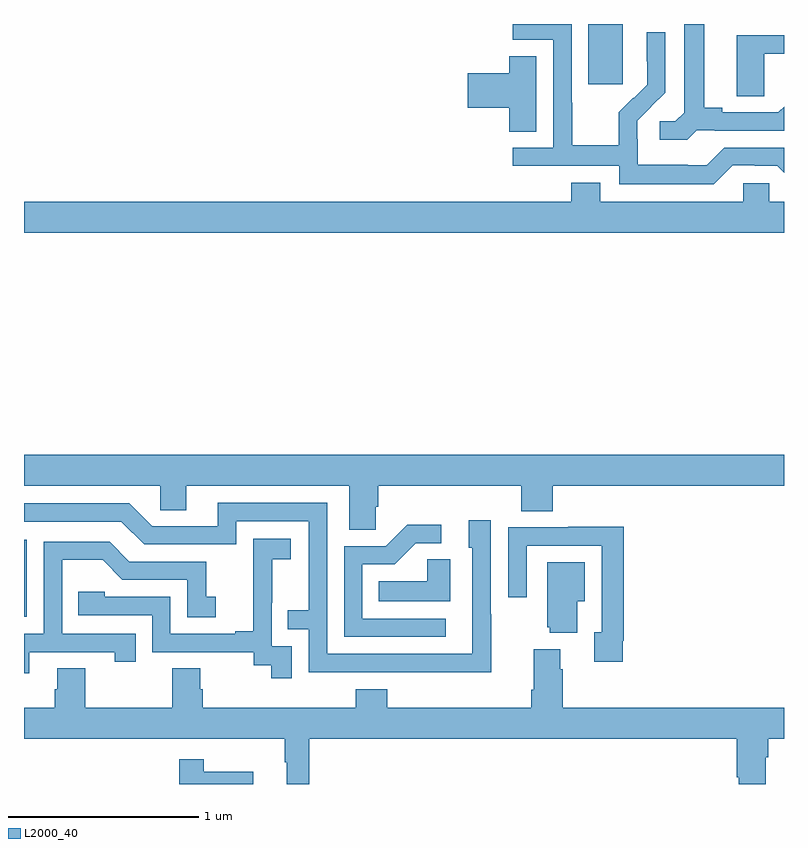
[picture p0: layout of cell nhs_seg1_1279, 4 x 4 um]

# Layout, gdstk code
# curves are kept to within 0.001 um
import gdstk
lib = gdstk.Library(unit=1e-6, precision=1e-09)
def R(c, l, rs):  # rectangles x0, y0, x1, y1
    for r in rs: c.add(gdstk.rectangle(r[:2], r[2:], *l))
def P(c, l, *ps):  # polygons
    for p in ps: c.add(gdstk.Polygon(p, *l))
L2000_40 = (2000, 40)

nhs_seg1_1279 = lib.new_cell('nhs_seg1_1279')
R(nhs_seg1_1279, L2000_40, [(181,515.079,181.014,515.485), (183.971,517.881,184.15,518.199)])
P(nhs_seg1_1279, L2000_40, [(184.542,517.641),(184.636,517.641),(184.636,517.638),(185,517.638),(185,517.764),(184.97,517.734),(184.675,517.734),(184.675,517.757),(184.579,517.757),(184.579,518.199),(184.475,518.199),(184.475,517.733),(184.428,517.686),(184.347,517.686),(184.347,517.589),(184.49,517.589)],
  [(184.731,517.455),(184.847,517.455),(184.847,517.452),(184.965,517.452),(185,517.417),(185,517.548),(184.686,517.548),(184.593,517.455),(184.493,517.455),(184.493,517.459),(184.23,517.459),(184.23,517.593),(184.228,517.593),(184.228,517.69),(184.374,517.838),(184.374,518.156),(184.278,518.156),(184.278,518.002),(184.28,518.002),(184.28,517.88),(184.209,517.809),(184.206,517.812),(184.129,517.735),(184.129,517.561),(183.885,517.561),(183.885,517.784),(183.882,517.784),(183.882,518.199),(183.573,518.199),(183.573,518.115),(183.786,518.115),(183.786,517.548),(183.573,517.548),(183.573,517.452),(184.134,517.452),(184.134,517.355),(184.631,517.355)],
  [(184.896,518.043),(185,518.043),(185,518.139),(184.751,518.139),(184.751,517.819),(184.896,517.819)],
  [(183.697,518.03),(183.554,518.03),(183.554,517.94),(183.336,517.94),(183.336,517.757),(183.554,517.757),(183.554,517.633),(183.697,517.633)],
  [(185,517.264),(184.923,517.264),(184.923,517.362),(184.785,517.362),(184.785,517.264),(184.033,517.264),(184.033,517.363),(183.881,517.363),(183.881,517.264),(181,517.264),(181,517.1),(185,517.1)],
  [(182.85,515.659),(182.864,515.659),(182.864,515.768),(183.617,515.768),(183.617,515.635),(183.782,515.635),(183.782,515.768),(185,515.768),(185,515.932),(181,515.932),(181,515.768),(181.716,515.768),(181.716,515.641),(181.855,515.641),(181.855,515.768),(182.711,515.768),(182.711,515.536),(182.85,515.536)],
  [(183.459,515.093),(183.456,515.093),(183.456,515.587),(183.341,515.587),(183.341,515.442),(183.36,515.442),(183.36,514.884),(182.595,514.884),(182.595,515.679),(182.021,515.679),(182.021,515.556),(181.674,515.556),(181.554,515.676),(181,515.676),(181,515.58),(181.512,515.58),(181.632,515.46),(182.118,515.46),(182.118,515.583),(182.499,515.583),(182.499,515.114),(182.389,515.114),(182.389,515.013),(182.499,515.013),(182.499,514.788),(183.459,514.787)],
  [(183.22,515.07),(182.781,515.07),(182.781,515.355),(182.95,515.355),(183.061,515.466),(183.196,515.466),(183.196,515.564),(183.017,515.564),(182.904,515.451),(182.685,515.451),(182.685,514.974),(183.22,514.974)],
  [(184.15,514.954),(184.157,514.954),(184.157,515.552),(183.865,515.552),(183.865,515.55),(183.549,515.55),(183.549,515.181),(183.645,515.181),(183.645,515.454),(184.041,515.454),(184.041,514.998),(184.001,514.998),(184.001,514.842),(184.15,514.842)],
  [(182.409,514.923),(182.304,514.923),(182.304,515.153),(182.306,515.153),(182.306,515.381),(182.404,515.381),(182.404,515.491),(182.206,515.491),(182.206,515.285),(182.207,515.285),(182.207,515.002),(182.111,515.002),(182.111,514.989),(181.77,514.989),(181.77,515.184),(181.425,515.184),(181.425,515.211),(181.285,515.211),(181.285,515.088),(181.674,515.088),(181.674,514.893),(182.208,514.893),(182.208,514.825),(182.301,514.825),(182.301,514.755),(182.409,514.755)],
  [(181.027,514.893),(181.478,514.893),(181.478,514.842),(181.589,514.842),(181.589,514.989),(181.2,514.989),(181.2,515.378),(181.414,515.378),(181.518,515.274),(181.86,515.274),(181.86,515.076),(182.008,515.076),(182.008,515.185),(181.959,515.185),(181.959,515.37),(181.555,515.37),(181.45,515.475),(181.104,515.475),(181.104,514.989),(181,514.989),(181,514.782),(181.027,514.782)],
  [(183.244,515.381),(183.123,515.381),(183.123,515.266),(182.866,515.266),(182.866,515.162),(183.244,515.162)],
  [(183.913,515.162),(183.952,515.162),(183.952,515.365),(183.755,515.365),(183.755,515.025),(183.767,515.025),(183.767,514.994),(183.913,514.994)],
  [(182.501,514.436),(184.751,514.436),(184.751,514.234),(184.763,514.234),(184.763,514.199),(184.903,514.199),(184.903,514.34),(184.916,514.34),(184.916,514.436),(185,514.436),(185,514.6),(183.836,514.6),(183.836,514.802),(183.823,514.802),(183.823,514.909),(183.683,514.909),(183.683,514.696),(183.671,514.696),(183.671,514.6),(182.912,514.6),(182.912,514.699),(182.747,514.699),(182.747,514.6),(181.94,514.6),(181.94,514.698),(181.927,514.698),(181.927,514.808),(181.78,514.808),(181.78,514.6),(181.323,514.6),(181.323,514.808),(181.175,514.808),(181.175,514.698),(181.163,514.698),(181.163,514.6),(181,514.6),(181,514.436),(182.373,514.436),(182.373,514.313),(182.384,514.313),(182.384,514.199),(182.501,514.199)],
  [(182.206,514.264),(181.945,514.264),(181.945,514.33),(181.816,514.33),(181.816,514.199),(182.206,514.199)])

lib.write_gds('nhs_seg1_1279.gds')
